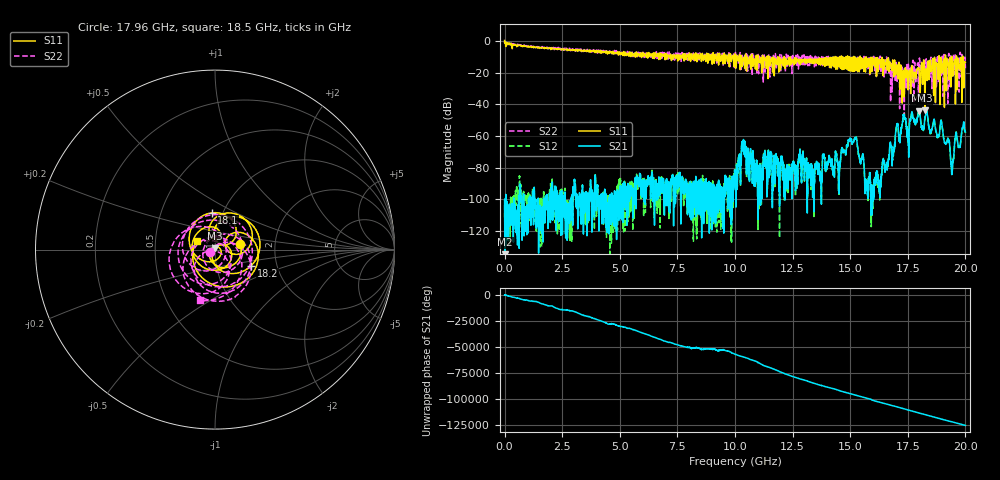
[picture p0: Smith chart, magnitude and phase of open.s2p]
! MS46122B
! 2250307/22442219
! 2/19/2026 8:49:12 AM
! C:\USERS\SPARKY\DOCUMENTS\VNA_DATA\FEB19_2026\WARM2\OPEN.S2P
! CHANNEL.1
! TR.MEASUREMENT
! RAW.DATA
# GHZ S RI R 50.0
! FREQ.GHZ  S11RE  S11IM  S21RE  S21IM  S12RE  S12IM  S22RE  S22IM
!; PortSelection: Port_12
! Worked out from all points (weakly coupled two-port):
!   10001 points, 1 MHz to 20 GHz, reference 50 ohm
!   highest |S21| = -44.03 dB at 17.98 GHz (marker M1); lowest = -140.0 dB at 25 MHz (marker M2)
!   lowest |S11| = -43.8 dB at 18.24 GHz (marker M3), VSWR 1.01, Z = 49.8 + j0.622 ohm
!   |S11| at or under -10 dB: 11.48 GHz to 11.86 GHz (378.6 MHz wide, 3.24 % of centre); 12.4 GHz to 14.34 GHz (1.932 GHz wide, 14.5 % of centre); 15.7 GHz to 18.85 GHz (3.146 GHz wide, 18.2 % of centre) (the widest 3 of 72)
!   |S22| runs from -47.0 to -0.1 dB; largest |S21 - S12| = 0.0027
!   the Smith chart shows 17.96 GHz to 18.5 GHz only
!   S11 on the Smith chart (normalised r, x): 17.96 GHz: 1.33, +0.09; 18.1 GHz: 0.89, +0.38; 18.2 GHz: 1.47, -0.28; 18.5 GHz: 0.81, +0.08
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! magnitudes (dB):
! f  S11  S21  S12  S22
! 1 MHz  0.4  -100.7  -103.6  -0.2
! 25 MHz  -1.0  -140.0  -106.7  -0.1
! 3.335 GHz  -5.6  -106.4  -105.7  -6.3
! 6.669 GHz  -8.1  -94.0  -96.7  -8.2
! 10 GHz  -8.4  -83.3  -85.5  -8.8
! 10.38 GHz  -10.2  -63.6  -64.6  -12.3
! 10.93 GHz  -8.9  -78.0  -78.0  -11.8
! 13.33 GHz  -11.4  -81.8  -82.3  -10.6
! 14.51 GHz  -16.0  -94.9  -93.9  -13.1
! 15.2 GHz  -18.3  -61.2  -61.4  -13.6
! 15.7 GHz  -10.1  -89.5  -91.0  -14.2
! 16.67 GHz  -11.8  -74.9  -74.7  -13.0
! 17.32 GHz  -20.7  -46.3  -46.4  -19.3
! 17.96 GHz  -16.8  -44.5  -44.4  -29.7
! 17.98 GHz  -16.9  -44.0  -44.0  -15.3
! 18.1 GHz  -13.8  -53.8  -53.9  -14.5
! 18.2 GHz  -13.1  -54.5  -54.6  -12.8
! 18.24 GHz  -43.8  -49.1  -49.1  -15.9
! 18.5 GHz  -19.0  -57.3  -57.7  -10.6
! 18.97 GHz  -17.2  -51.8  -52.1  -11.9
! 19.42 GHz  -10.6  -83.7  -83.3  -14.8
! 20 GHz  -13.5  -57.4  -57.9  -17.1
